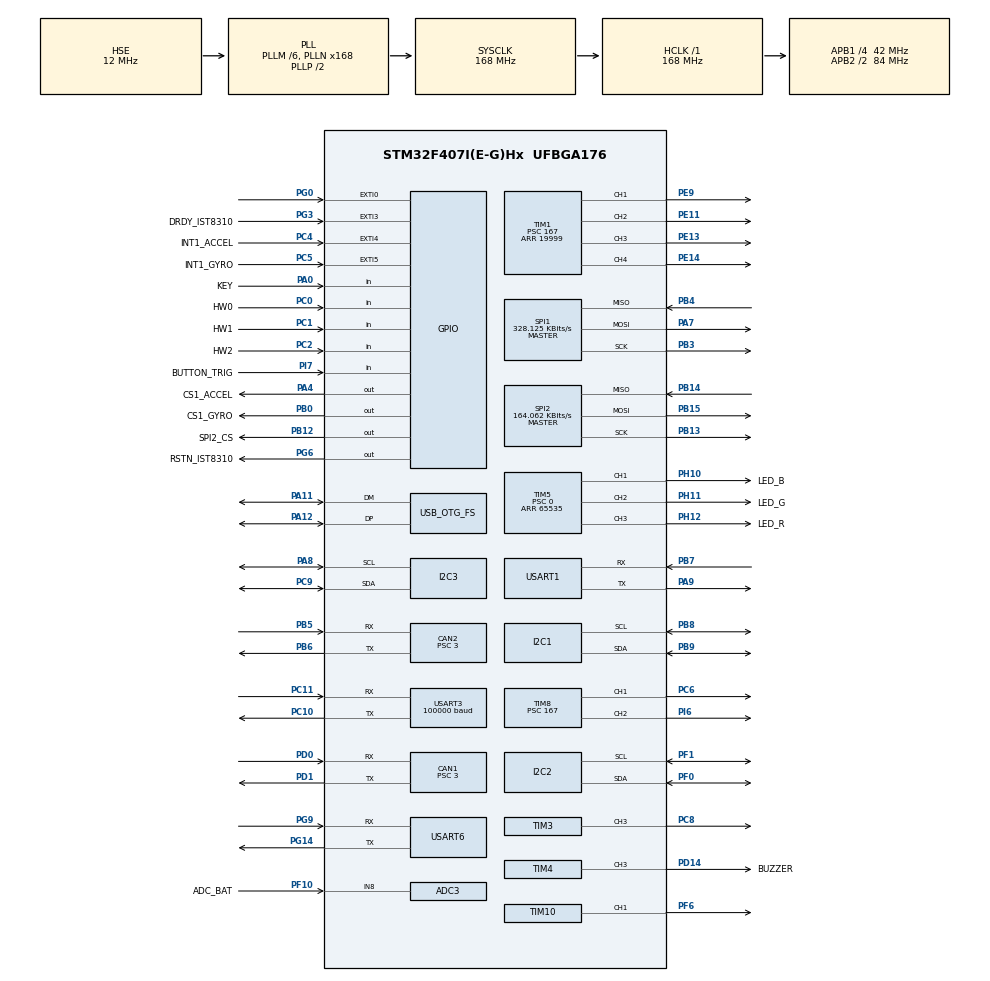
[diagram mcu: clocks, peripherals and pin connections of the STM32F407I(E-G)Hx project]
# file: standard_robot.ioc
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ADC1.Channel-0\#ChannelRegularConversion=ADC_CHANNEL_TEMPSENSOR
ADC1.ClockPrescaler=ADC_CLOCK_SYNC_PCLK_DIV6
ADC1.NbrOfConversionFlag=1
ADC1.Rank-0\#ChannelRegularConversion=1
ADC1.SamplingTime-0\#ChannelRegularConversion=ADC_SAMPLETIME_3CYCLES
ADC1.master=1
ADC3.Channel-0\#ChannelRegularConversion=ADC_CHANNEL_8
ADC3.ClockPrescaler=ADC_CLOCK_SYNC_PCLK_DIV6
ADC3.NbrOfConversionFlag=1
ADC3.Rank-0\#ChannelRegularConversion=1
ADC3.SamplingTime-0\#ChannelRegularConversion=ADC_SAMPLETIME_3CYCLES
CAN1.BS1=CAN_BS1_10TQ
CAN1.BS2=CAN_BS2_3TQ
CAN1.CalculateBaudRate=1000000
CAN1.CalculateTimeQuantum=71.42857142857143
CAN1.Prescaler=3
CAN2.BS1=CAN_BS1_10TQ
CAN2.BS2=CAN_BS2_3TQ
CAN2.CalculateBaudRate=1000000
CAN2.CalculateTimeQuantum=71.42857142857143
CAN2.Prescaler=3
Dma.I2C2_TX.2.Direction=DMA_MEMORY_TO_PERIPH
Dma.I2C2_TX.2.FIFOMode=DMA_FIFOMODE_DISABLE
Dma.I2C2_TX.2.Instance=DMA1_Stream7
Dma.I2C2_TX.2.MemDataAlignment=DMA_MDATAALIGN_BYTE
Dma.I2C2_TX.2.MemInc=DMA_MINC_ENABLE
Dma.I2C2_TX.2.Mode=DMA_NORMAL
Dma.I2C2_TX.2.PeriphDataAlignment=DMA_PDATAALIGN_BYTE
Dma.I2C2_TX.2.PeriphInc=DMA_PINC_DISABLE
Dma.I2C2_TX.2.Priority=DMA_PRIORITY_HIGH
Dma.Request0=SPI1_RX
Dma.Request1=SPI1_TX
Dma.Request2=I2C2_TX
Dma.Request3=USART3_RX
Dma.Request4=USART6_RX
Dma.Request5=USART6_TX
Dma.Request6=USART1_TX
Dma.SPI1_RX.0.Direction=DMA_PERIPH_TO_MEMORY
Dma.SPI1_RX.0.FIFOMode=DMA_FIFOMODE_DISABLE
Dma.SPI1_RX.0.Instance=DMA2_Stream2
Dma.SPI1_RX.0.MemDataAlignment=DMA_MDATAALIGN_BYTE
Dma.SPI1_RX.0.MemInc=DMA_MINC_ENABLE
Dma.SPI1_RX.0.Mode=DMA_NORMAL
Dma.SPI1_RX.0.PeriphDataAlignment=DMA_PDATAALIGN_BYTE
Dma.SPI1_RX.0.PeriphInc=DMA_PINC_DISABLE
Dma.SPI1_RX.0.Priority=DMA_PRIORITY_VERY_HIGH
Dma.SPI1_TX.1.Direction=DMA_MEMORY_TO_PERIPH
Dma.SPI1_TX.1.FIFOMode=DMA_FIFOMODE_DISABLE
Dma.SPI1_TX.1.Instance=DMA2_Stream3
Dma.SPI1_TX.1.MemDataAlignment=DMA_MDATAALIGN_BYTE
Dma.SPI1_TX.1.MemInc=DMA_MINC_ENABLE
Dma.SPI1_TX.1.Mode=DMA_NORMAL
Dma.SPI1_TX.1.PeriphDataAlignment=DMA_PDATAALIGN_BYTE
Dma.SPI1_TX.1.PeriphInc=DMA_PINC_DISABLE
Dma.SPI1_TX.1.Priority=DMA_PRIORITY_HIGH
Dma.USART1_TX.6.Direction=DMA_MEMORY_TO_PERIPH
Dma.USART1_TX.6.FIFOMode=DMA_FIFOMODE_DISABLE
Dma.USART1_TX.6.Instance=DMA2_Stream7
Dma.USART1_TX.6.MemDataAlignment=DMA_MDATAALIGN_BYTE
Dma.USART1_TX.6.MemInc=DMA_MINC_ENABLE
Dma.USART1_TX.6.Mode=DMA_NORMAL
Dma.USART1_TX.6.PeriphDataAlignment=DMA_PDATAALIGN_BYTE
Dma.USART1_TX.6.PeriphInc=DMA_PINC_DISABLE
Dma.USART1_TX.6.Priority=DMA_PRIORITY_MEDIUM
Dma.USART3_RX.3.Direction=DMA_PERIPH_TO_MEMORY
Dma.USART3_RX.3.FIFOMode=DMA_FIFOMODE_DISABLE
Dma.USART3_RX.3.Instance=DMA1_Stream1
Dma.USART3_RX.3.MemDataAlignment=DMA_MDATAALIGN_BYTE
Dma.USART3_RX.3.MemInc=DMA_MINC_ENABLE
Dma.USART3_RX.3.Mode=DMA_NORMAL
Dma.USART3_RX.3.PeriphDataAlignment=DMA_PDATAALIGN_BYTE
Dma.USART3_RX.3.PeriphInc=DMA_PINC_DISABLE
Dma.USART3_RX.3.Priority=DMA_PRIORITY_HIGH
Dma.USART6_RX.4.Direction=DMA_PERIPH_TO_MEMORY
Dma.USART6_RX.4.FIFOMode=DMA_FIFOMODE_DISABLE
Dma.USART6_RX.4.Instance=DMA2_Stream1
Dma.USART6_RX.4.MemDataAlignment=DMA_MDATAALIGN_BYTE
Dma.USART6_RX.4.MemInc=DMA_MINC_ENABLE
Dma.USART6_RX.4.Mode=DMA_NORMAL
Dma.USART6_RX.4.PeriphDataAlignment=DMA_PDATAALIGN_BYTE
Dma.USART6_RX.4.PeriphInc=DMA_PINC_DISABLE
Dma.USART6_RX.4.Priority=DMA_PRIORITY_HIGH
Dma.USART6_TX.5.Direction=DMA_MEMORY_TO_PERIPH
Dma.USART6_TX.5.FIFOMode=DMA_FIFOMODE_DISABLE
Dma.USART6_TX.5.Instance=DMA2_Stream6
Dma.USART6_TX.5.MemDataAlignment=DMA_MDATAALIGN_BYTE
Dma.USART6_TX.5.MemInc=DMA_MINC_ENABLE
Dma.USART6_TX.5.Mode=DMA_NORMAL
Dma.USART6_TX.5.PeriphDataAlignment=DMA_PDATAALIGN_BYTE
Dma.USART6_TX.5.PeriphInc=DMA_PINC_DISABLE
Dma.USART6_TX.5.Priority=DMA_PRIORITY_MEDIUM
FREERTOS.INCLUDE_eTaskGetState=1
FREERTOS.INCLUDE_pcTaskGetTaskName=1
FREERTOS.INCLUDE_uxTaskGetStackHighWaterMark=1
FREERTOS.INCLUDE_vTaskCleanUpResources=1
FREERTOS.INCLUDE_vTaskDelayUntil=1
FREERTOS.INCLUDE_xEventGroupSetBitFromISR=1
FREERTOS.INCLUDE_xQueueGetMutexHolder=1
FREERTOS.INCLUDE_xSemaphoreGetMutexHolder=1
FREERTOS.INCLUDE_xTaskAbortDelay=1
FREERTOS.INCLUDE_xTaskGetCurrentTaskHandle=1
FREERTOS.INCLUDE_xTaskGetHandle=1
FREERTOS.INCLUDE_xTimerPendFunctionCall=1
FREERTOS.Tasks01=test,24,128,test_task,As weak,NULL,Dynamic,NULL,NULL
FREERTOS.configTOTAL_HEAP_SIZE=24576
I2C1.I2C_Mode=I2C_Fast
I2C2.I2C_Mode=I2C_Fast
I2C3.I2C_Mode=I2C_Fast
Mcu.Family=STM32F4
Mcu.Name=STM32F407I(E-G)Hx
Mcu.Package=UFBGA176
NVIC.CAN1_RX0_IRQn=true\:6\:0\:true\:false\:true\:true\:true\:true\:true
NVIC.CAN2_RX0_IRQn=true\:6\:0\:true\:false\:true\:true\:true\:true\:true
NVIC.DMA1_Stream1_IRQn=true\:5\:0\:true\:false\:false\:true\:false\:false\:true
NVIC.DMA1_Stream7_IRQn=true\:5\:0\:true\:false\:false\:true\:false\:true\:true
NVIC.DMA2_Stream1_IRQn=true\:5\:0\:true\:false\:true\:true\:false\:true\:true
NVIC.DMA2_Stream2_IRQn=true\:5\:0\:true\:false\:false\:true\:false\:true\:true
NVIC.DMA2_Stream3_IRQn=true\:5\:0\:true\:false\:false\:true\:false\:true\:true
NVIC.DMA2_Stream6_IRQn=true\:5\:0\:true\:false\:true\:true\:false\:true\:true
NVIC.DMA2_Stream7_IRQn=true\:5\:0\:true\:false\:true\:true\:false\:true\:true
NVIC.EXTI0_IRQn=true\:6\:0\:true\:false\:true\:true\:true\:true\:true
NVIC.EXTI3_IRQn=true\:5\:0\:true\:false\:true\:true\:true\:true\:true
NVIC.EXTI4_IRQn=true\:5\:0\:true\:false\:true\:true\:true\:true\:true
NVIC.EXTI9_5_IRQn=true\:5\:0\:true\:false\:true\:true\:true\:true\:true
NVIC.OTG_FS_IRQn=true\:5\:0\:false\:false\:true\:true\:false\:true\:true
NVIC.PriorityGroup=NVIC_PRIORITYGROUP_4
NVIC.USART3_IRQn=true\:4\:0\:true\:false\:false\:false\:true\:true\:true
NVIC.USART6_IRQn=true\:5\:0\:true\:false\:false\:true\:true\:true\:true
PA0-WKUP.GPIO_Label=KEY
PA0-WKUP.GPIO_PuPd=GPIO_PULLUP
PA0-WKUP.Signal=GPIO_Input
PA11.Mode=Device_Only
PA11.Signal=USB_OTG_FS_DM
PA12.Mode=Device_Only
PA12.Signal=USB_OTG_FS_DP
PA13.Mode=Serial_Wire
PA13.Signal=SYS_JTMS-SWDIO
PA14.Mode=Serial_Wire
PA14.Signal=SYS_JTCK-SWCLK
PA4.GPIO_Label=CS1_ACCEL
PA4.GPIO_PuPd=GPIO_PULLUP
PA4.GPIO_Speed=GPIO_SPEED_FREQ_HIGH
PA4.PinState=GPIO_PIN_SET
PA4.Signal=GPIO_Output
PA7.GPIO_PuPd=GPIO_PULLUP
PA7.Mode=Full_Duplex_Master
PA7.Signal=SPI1_MOSI
PA8.GPIO_Pu=GPIO_PULLUP
PA8.Mode=I2C
PA8.Signal=I2C3_SCL
PA9.Mode=Asynchronous
PA9.Signal=USART1_TX
PB0.GPIO_Label=CS1_GYRO
PB0.GPIO_PuPd=GPIO_PULLUP
PB0.GPIO_Speed=GPIO_SPEED_FREQ_HIGH
PB0.PinState=GPIO_PIN_SET
PB0.Signal=GPIO_Output
PB12.GPIO_Label=SPI2_CS
PB12.GPIO_PuPd=GPIO_PULLUP
PB12.GPIO_Speed=GPIO_SPEED_FREQ_MEDIUM
PB12.PinState=GPIO_PIN_SET
PB12.Signal=GPIO_Output
PB13.GPIO_PuPd=GPIO_PULLUP
PB13.Mode=Full_Duplex_Master
PB13.Signal=SPI2_SCK
PB14.GPIO_PuPd=GPIO_PULLUP
PB14.Mode=Full_Duplex_Master
PB14.Signal=SPI2_MISO
PB15.GPIO_PuPd=GPIO_PULLUP
PB15.Mode=Full_Duplex_Master
PB15.Signal=SPI2_MOSI
PB3.GPIO_PuPd=GPIO_PULLUP
PB3.Mode=Full_Duplex_Master
PB3.Signal=SPI1_SCK
PB4.GPIO_PuPd=GPIO_PULLUP
PB4.Mode=Full_Duplex_Master
PB4.Signal=SPI1_MISO
PB5.Mode=CAN_Activate
PB5.Signal=CAN2_RX
PB6.Mode=CAN_Activate
PB6.Signal=CAN2_TX
PB7.Mode=Asynchronous
PB7.Signal=USART1_RX
PB8.GPIO_Pu=GPIO_PULLUP
PB8.Mode=I2C
PB8.Signal=I2C1_SCL
PB9.GPIO_Pu=GPIO_PULLUP
PB9.Mode=I2C
PB9.Signal=I2C1_SDA
PC0.GPIO_Label=HW0
PC0.Signal=GPIO_Input
PC1.GPIO_Label=HW1
PC1.Signal=GPIO_Input
PC10.Mode=Asynchronous
PC10.Signal=USART3_TX
PC11.Mode=Asynchronous
PC11.Signal=USART3_RX
PC2.GPIO_Label=HW2
PC2.Signal=GPIO_Input
PC4.GPIO_Label=INT1_ACCEL
PC4.GPIO_ModeDefaultEXTI=GPIO_MODE_IT_FALLING
PC4.GPIO_PuPd=GPIO_PULLUP
PC4.Signal=GPXTI4
PC5.GPIO_Label=INT1_GYRO
PC5.GPIO_ModeDefaultEXTI=GPIO_MODE_IT_FALLING
PC5.GPIO_PuPd=GPIO_PULLUP
PC5.Signal=GPXTI5
PC6.GPIO_PuPd=GPIO_PULLUP
PC6.GPIO_Speed=GPIO_SPEED_FREQ_HIGH
PC6.Signal=S_TIM8_CH1
PC8.GPIO_PuPd=GPIO_PULLUP
PC8.GPIO_Speed=GPIO_SPEED_FREQ_HIGH
PC8.Signal=S_TIM3_CH3
PC9.GPIO_Pu=GPIO_PULLUP
PC9.Mode=I2C
PC9.Signal=I2C3_SDA
PD0.Mode=CAN_Activate
PD0.Signal=CAN1_RX
PD1.Mode=CAN_Activate
PD1.Signal=CAN1_TX
PD14.GPIO_Label=BUZZER
PD14.GPIO_PuPd=GPIO_PULLUP
PD14.GPIO_Speed=GPIO_SPEED_FREQ_VERY_HIGH
PD14.Signal=S_TIM4_CH3
PE11.GPIO_PuPd=GPIO_PULLUP
PE11.GPIO_Speed=GPIO_SPEED_FREQ_HIGH
PE11.Signal=S_TIM1_CH2
PE13.GPIO_PuPd=GPIO_PULLUP
PE13.GPIO_Speed=GPIO_SPEED_FREQ_HIGH
PE13.Signal=S_TIM1_CH3
PE14.GPIO_PuPd=GPIO_PULLUP
PE14.GPIO_Speed=GPIO_SPEED_FREQ_HIGH
PE14.Signal=S_TIM1_CH4
PE9.GPIO_PuPd=GPIO_PULLUP
PE9.GPIO_Speed=GPIO_SPEED_FREQ_HIGH
PE9.Signal=S_TIM1_CH1
PF0.GPIO_Pu=GPIO_PULLUP
PF0.Mode=I2C
PF0.Signal=I2C2_SDA
PF1.GPIO_Pu=GPIO_PULLUP
PF1.Mode=I2C
PF1.Signal=I2C2_SCL
PF10.GPIO_Label=ADC_BAT
PF10.Mode=IN8
PF10.Signal=ADC3_IN8
PF6.GPIO_PuPd=GPIO_PULLUP
PF6.GPIO_Speed=GPIO_SPEED_FREQ_HIGH
PF6.Signal=S_TIM10_CH1
PG0.GPIO_ModeDefaultEXTI=GPIO_MODE_IT_FALLING
PG0.GPIO_PuPd=GPIO_PULLUP
PG0.Signal=GPXTI0
PG14.Mode=Asynchronous
PG14.Signal=USART6_TX
PG3.GPIO_Label=DRDY_IST8310
PG3.GPIO_ModeDefaultEXTI=GPIO_MODE_IT_FALLING
PG3.GPIO_PuPd=GPIO_PULLUP
PG3.Signal=GPXTI3
PG6.GPIO_Label=RSTN_IST8310
PG6.GPIO_PuPd=GPIO_PULLUP
PG6.GPIO_Speed=GPIO_SPEED_FREQ_MEDIUM
PG6.PinState=GPIO_PIN_SET
PG6.Signal=GPIO_Output
PG9.Mode=Asynchronous
PG9.Signal=USART6_RX
PH0-OSC_IN.Mode=HSE-External-Oscillator
PH0-OSC_IN.Signal=RCC_OSC_IN
PH1-OSC_OUT.Mode=HSE-External-Oscillator
PH1-OSC_OUT.Signal=RCC_OSC_OUT
PH10.GPIO_Label=LED_B
PH10.GPIO_PuPd=GPIO_PULLUP
PH10.GPIO_Speed=GPIO_SPEED_FREQ_HIGH
PH10.Signal=S_TIM5_CH1
PH11.GPIO_Label=LED_G
PH11.GPIO_PuPd=GPIO_PULLUP
PH11.GPIO_Speed=GPIO_SPEED_FREQ_HIGH
PH11.Signal=S_TIM5_CH2
PH12.GPIO_Label=LED_R
PH12.GPIO_PuPd=GPIO_PULLUP
PH12.GPIO_Speed=GPIO_SPEED_FREQ_HIGH
PH12.Signal=S_TIM5_CH3
PI6.GPIO_PuPd=GPIO_PULLUP
PI6.GPIO_Speed=GPIO_SPEED_FREQ_HIGH
PI6.Signal=S_TIM8_CH2
PI7.GPIO_Label=BUTTON_TRIG
PI7.GPIO_PuPd=GPIO_PULLUP
PI7.Signal=GPIO_Input
ProjectManager.HeapSize=0x2000
ProjectManager.StackSize=0x2000
ProjectManager.TargetToolchain=MDK-ARM V5
RCC.48MHZClocksFreq_Value=48000000
RCC.AHBFreq_Value=168000000
RCC.APB1CLKDivider=RCC_HCLK_DIV4
RCC.APB1Freq_Value=42000000
RCC.APB1TimFreq_Value=84000000
RCC.APB2CLKDivider=RCC_HCLK_DIV2
RCC.APB2Freq_Value=84000000
RCC.APB2TimFreq_Value=168000000
RCC.CortexFreq_Value=168000000
RCC.HCLKFreq_Value=168000000
RCC.HSE_VALUE=12000000
RCC.HSI_VALUE=16000000
RCC.LSE_VALUE=32768
RCC.PLLM=6
RCC.PLLN=168
RCC.PLLQ=7
RCC.RCC_RTC_Clock_SourceVirtual=RCC_RTCCLKSOURCE_HSE_DIV30
RCC.RCC_RTC_Clock_Source_FROM_HSE=RCC_RTCCLKSOURCE_HSE_DIV30
RCC.SYSCLKFreq_VALUE=168000000
RCC.SYSCLKSource=RCC_SYSCLKSOURCE_PLLCLK
RCC.VCOOutputFreq_Value=336000000
RTC.AsynchPrediv=124
RTC.SynchPrediv=3199
SH.S_TIM10_CH1.0=TIM10_CH1,PWM Generation1 CH1
SH.S_TIM1_CH1.0=TIM1_CH1,PWM Generation1 CH1
SH.S_TIM1_CH2.0=TIM1_CH2,PWM Generation2 CH2
SH.S_TIM1_CH3.0=TIM1_CH3,PWM Generation3 CH3
SH.S_TIM1_CH4.0=TIM1_CH4,PWM Generation4 CH4
SH.S_TIM3_CH3.0=TIM3_CH3,PWM Generation3 CH3
SH.S_TIM4_CH3.0=TIM4_CH3,PWM Generation3 CH3
SH.S_TIM5_CH1.0=TIM5_CH1,PWM Generation1 CH1
SH.S_TIM5_CH2.0=TIM5_CH2,PWM Generation2 CH2
SH.S_TIM5_CH3.0=TIM5_CH3,PWM Generation3 CH3
SH.S_TIM8_CH1.0=TIM8_CH1,PWM Generation1 CH1
SH.S_TIM8_CH2.0=TIM8_CH2,PWM Generation2 CH2
SPI1.BaudRatePrescaler=SPI_BAUDRATEPRESCALER_256
SPI1.CLKPhase=SPI_PHASE_2EDGE
SPI1.CLKPolarity=SPI_POLARITY_HIGH
SPI1.CalculateBaudRate=328.125 KBits/s
SPI1.Direction=SPI_DIRECTION_2LINES
SPI1.Mode=SPI_MODE_MASTER
SPI1.VirtualType=VM_MASTER
SPI2.BaudRatePrescaler=SPI_BAUDRATEPRESCALER_256
SPI2.CLKPhase=SPI_PHASE_2EDGE
SPI2.CLKPolarity=SPI_POLARITY_HIGH
SPI2.CalculateBaudRate=164.062 KBits/s
SPI2.Direction=SPI_DIRECTION_2LINES
SPI2.Mode=SPI_MODE_MASTER
SPI2.VirtualType=VM_MASTER
TIM1.Channel-PWM\ Generation1\ CH1=TIM_CHANNEL_1
TIM1.Channel-PWM\ Generation2\ CH2=TIM_CHANNEL_2
TIM1.Channel-PWM\ Generation3\ CH3=TIM_CHANNEL_3
TIM1.Channel-PWM\ Generation4\ CH4=TIM_CHANNEL_4
TIM1.OCPolarity_1=TIM_OCPOLARITY_HIGH
TIM1.Period=19999
TIM1.Prescaler=167
TIM1.Pulse-PWM\ Generation1\ CH1=2000
TIM1.Pulse-PWM\ Generation2\ CH2=1000
TIM1.Pulse-PWM\ Generation3\ CH3=1000
TIM1.Pulse-PWM\ Generation4\ CH4=1000
TIM10.Channel=TIM_CHANNEL_1
TIM10.Period=4999
TIM3.Channel-PWM\ Generation3\ CH3=TIM_CHANNEL_3
TIM3.Period=8399
TIM4.Channel-PWM\ Generation3\ CH3=TIM_CHANNEL_3
TIM4.Period=65535
TIM4.Prescaler=167
TIM5.Channel-PWM\ Generation1\ CH1=TIM_CHANNEL_1
TIM5.Channel-PWM\ Generation2\ CH2=TIM_CHANNEL_2
TIM5.Channel-PWM\ Generation3\ CH3=TIM_CHANNEL_3
TIM5.Period=65535
TIM5.Prescaler=0
TIM8.Channel-PWM\ Generation1\ CH1=TIM_CHANNEL_1
TIM8.Channel-PWM\ Generation2\ CH2=TIM_CHANNEL_2
TIM8.Period=19999
TIM8.Prescaler=167
TIM8.Pulse-PWM\ Generation1\ CH1=1000
TIM8.Pulse-PWM\ Generation2\ CH2=1000
USART1.VirtualMode=VM_ASYNC
USART3.BaudRate=100000
USART3.Parity=PARITY_EVEN
USART3.VirtualMode=VM_ASYNC
USART6.VirtualMode=VM_ASYNC
USB_DEVICE.CLASS_NAME_FS=CDC
USB_DEVICE.VirtualMode-CDC_FS=Cdc
USB_DEVICE.VirtualModeFS=Cdc_FS
USB_OTG_FS.VirtualMode=Device_Only
VP_ADC1_TempSens_Input.Mode=IN-TempSens
VP_ADC1_Vref_Input.Mode=IN-Vrefint
VP_CRC_VS_CRC.Mode=CRC_Activate
VP_FREERTOS_VS_CMSIS_V1.Mode=CMSIS_V1
VP_RNG_VS_RNG.Mode=RNG_Activate
VP_RTC_VS_RTC_Activate.Mode=RTC_Enabled
VP_TIM10_VS_ClockSourceINT.Mode=Enable_Timer
VP_TIM1_VS_ClockSourceINT.Mode=Internal
VP_TIM3_VS_ClockSourceINT.Mode=Internal
VP_TIM4_VS_ClockSourceINT.Mode=Internal
VP_TIM5_VS_ClockSourceINT.Mode=Internal
VP_TIM8_VS_ClockSourceINT.Mode=Internal
VP_USB_DEVICE_VS_USB_DEVICE_CDC_FS.Mode=CDC_FS
board=custom

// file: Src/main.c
/* USER CODE BEGIN Header */
/**
  ******************************************************************************
  * @file           : main.c
  * @brief          : Main program body
  ******************************************************************************
  * @attention
  *
  * <h2><center>&copy; Copyright (c) 2019 STMicroelectronics.
  * All rights reserved.</center></h2>
  *
  * This software component is licensed by ST under Ultimate Liberty license
  * SLA0044, the "License"; You may not use this file except in compliance with
  * the License. You may obtain a copy of the License at:
  *                             www.st.com/SLA0044
  *
  ******************************************************************************
  */
/* USER CODE END Header */

#include "main.h"
#include "cmsis_os.h"
#include "adc.h"
#include "can.h"
#include "crc.h"
#include "dma.h"
#include "i2c.h"
#include "rng.h"
#include "rtc.h"
#include "spi.h"
#include "tim.h"
#include "usart.h"
#include "usb_device.h"
#include "gpio.h"

/* USER CODE BEGIN Includes */
#include "bsp_can.h"
#include "bsp_delay.h"
#include "bsp_usart.h"
#include "vision_rx_task.h"

#include "calibrate_task.h"
#include "chassis_task.h"
#include "detect_task.h"
#include "gimbal_task.h"
#include "INS_task.h"
#include "led_flow_task.h"
#include "oled_task.h"
#include "referee_usart_task.h"
#include "usb_task.h"
#include "voltage_task.h"

/* USER CODE END Includes */

void SystemClock_Config(void);
void MX_FREERTOS_Init(void);

int main(void)
{

  /* MCU Configuration--------------------------------------------------------*/

  /* Reset of all peripherals, Initializes the Flash interface and the Systick. */
  HAL_Init();

  /* Configure the system clock */
  SystemClock_Config();

  /* Initialize all configured peripherals */
  MX_GPIO_Init();
  MX_DMA_Init();
  MX_ADC1_Init();
  MX_ADC3_Init();
  MX_CAN1_Init();
  MX_CAN2_Init();
  MX_I2C1_Init();
  MX_SPI1_Init();
  MX_TIM4_Init();
  MX_TIM5_Init();
  MX_USART3_UART_Init();
  MX_TIM8_Init();
  MX_CRC_Init();
  MX_RNG_Init();
  MX_I2C2_Init();
  MX_I2C3_Init();
  MX_RTC_Init();
  MX_SPI2_Init();
  MX_TIM1_Init();
  MX_TIM3_Init();
  MX_TIM10_Init();
  MX_USART1_UART_Init();
  MX_USART6_UART_Init();
  /* USER CODE BEGIN 2 */
    can_filter_init();
    delay_init();
    cali_param_init();
    //remote_control_init();

    usart1_tx_dma_init();
    /* aim_assistant_control_init() removed — logic moved into vision_rx_task */

  /* USER CODE END 2 */

  /* Call init function for freertos objects (in freertos.c) */
  MX_FREERTOS_Init();

  /* Start scheduler */
  osKernelStart();

  /* We should never get here as control is now taken by the scheduler */

  /* Infinite loop */
  while (1)
  {

  }
}

void SystemClock_Config(void)
{
  RCC_OscInitTypeDef RCC_OscInitStruct = {0};
  RCC_ClkInitTypeDef RCC_ClkInitStruct = {0};
  RCC_PeriphCLKInitTypeDef PeriphClkInitStruct = {0};

  /** Configure the main internal regulator output voltage
  */
  __HAL_RCC_PWR_CLK_ENABLE();
  __HAL_PWR_VOLTAGESCALING_CONFIG(PWR_REGULATOR_VOLTAGE_SCALE1);
  /** Initializes the CPU, AHB and APB busses clocks
  */
  RCC_OscInitStruct.OscillatorType = RCC_OSCILLATORTYPE_HSE;
  RCC_OscInitStruct.HSEState = RCC_HSE_ON;
  RCC_OscInitStruct.PLL.PLLState = RCC_PLL_ON;
  RCC_OscInitStruct.PLL.PLLSource = RCC_PLLSOURCE_HSE;
  RCC_OscInitStruct.PLL.PLLM = 6;
  RCC_OscInitStruct.PLL.PLLN = 168;
  RCC_OscInitStruct.PLL.PLLP = RCC_PLLP_DIV2;
  RCC_OscInitStruct.PLL.PLLQ = 7;
  if (HAL_RCC_OscConfig(&RCC_OscInitStruct) != HAL_OK)
  {
    Error_Handler();
  }
  /** Initializes the CPU, AHB and APB busses clocks
  */
  RCC_ClkInitStruct.ClockType = RCC_CLOCKTYPE_HCLK|RCC_CLOCKTYPE_SYSCLK
                              |RCC_CLOCKTYPE_PCLK1|RCC_CLOCKTYPE_PCLK2;
  RCC_ClkInitStruct.SYSCLKSource = RCC_SYSCLKSOURCE_PLLCLK;
  RCC_ClkInitStruct.AHBCLKDivider = RCC_SYSCLK_DIV1;
  RCC_ClkInitStruct.APB1CLKDivider = RCC_HCLK_DIV4;
  RCC_ClkInitStruct.APB2CLKDivider = RCC_HCLK_DIV2;

  if (HAL_RCC_ClockConfig(&RCC_ClkInitStruct, FLASH_LATENCY_5) != HAL_OK)
  {
    Error_Handler();
  }
  PeriphClkInitStruct.PeriphClockSelection = RCC_PERIPHCLK_RTC;
  PeriphClkInitStruct.RTCClockSelection = RCC_RTCCLKSOURCE_HSE_DIV30;
  if (HAL_RCCEx_PeriphCLKConfig(&PeriphClkInitStruct) != HAL_OK)
  {
    Error_Handler();
  }
}

void Error_Handler(void)
{
}

/************************ (C) COPYRIGHT STMicroelectronics *****END OF FILE****/

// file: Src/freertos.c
/* USER CODE BEGIN Header */
/**
  ******************************************************************************
  * File Name          : freertos.c
  * Description        : Code for freertos applications
  ******************************************************************************
  * @attention
  *
  * <h2><center>&copy; Copyright (c) 2019 STMicroelectronics.
  * All rights reserved.</center></h2>
  *
  * This software component is licensed by ST under Ultimate Liberty license
  * SLA0044, the "License"; You may not use this file except in compliance with
  * the License. You may obtain a copy of the License at:
  *                             www.st.com/SLA0044
  *
  ******************************************************************************
  */
/* USER CODE END Header */

#include "FreeRTOS.h"
#include "task.h"
#include "main.h"
#include "cmsis_os.h"

/* USER CODE BEGIN Includes */

#include "calibrate_task.h"
#include "chassis_task.h"
#include "detect_task.h"
#include "gimbal_task.h"
#include "INS_task.h"
#include "led_flow_task.h"
#include "oled_task.h"
#include "referee_usart_task.h"
#include "usb_task.h"
#include "voltage_task.h"
#include "servo_task.h"
#include "vision_rx_task.h"
/* USER CODE END Includes */

/* USER CODE BEGIN PTD */

osThreadId calibrate_tast_handle;
osThreadId chassisTaskHandle;
osThreadId detect_handle;
osThreadId gimbalTaskHandle;
osThreadId imuTaskHandle;
osThreadId led_RGB_flow_handle;
osThreadId oled_handle;
osThreadId referee_usart_task_handle;
osThreadId usb_task_handle;
osThreadId battery_voltage_handle;
osThreadId servo_task_handle;
osThreadId vision_rx_task_handle;

/* USER CODE END PTD */

extern void MX_USB_DEVICE_Init(void);
void MX_FREERTOS_Init(void); /* (MISRA C 2004 rule 8.1) */

/* GetIdleTaskMemory prototype (linked to static allocation support) */
void vApplicationGetIdleTaskMemory( StaticTask_t **ppxIdleTaskTCBBuffer, StackType_t **ppxIdleTaskStackBuffer, uint32_t *pulIdleTaskStackSize );

/* GetTimerTaskMemory prototype (linked to static allocation support) */
void vApplicationGetTimerTaskMemory( StaticTask_t **ppxTimerTaskTCBBuffer, StackType_t **ppxTimerTaskStackBuffer, uint32_t *pulTimerTaskStackSize );

/* USER CODE BEGIN GET_IDLE_TASK_MEMORY */
static StaticTask_t xIdleTaskTCBBuffer;
static StackType_t xIdleStack[configMINIMAL_STACK_SIZE];

void vApplicationGetIdleTaskMemory( StaticTask_t **ppxIdleTaskTCBBuffer, StackType_t **ppxIdleTaskStackBuffer, uint32_t *pulIdleTaskStackSize )
{
  *ppxIdleTaskTCBBuffer = &xIdleTaskTCBBuffer;
  *ppxIdleTaskStackBuffer = &xIdleStack[0];
  *pulIdleTaskStackSize = configMINIMAL_STACK_SIZE;
  /* place for user code */
}
/* USER CODE END GET_IDLE_TASK_MEMORY */

/* USER CODE BEGIN GET_TIMER_TASK_MEMORY */
static StaticTask_t xTimerTaskTCBBuffer;
static StackType_t xTimerStack[configTIMER_TASK_STACK_DEPTH];

void vApplicationGetTimerTaskMemory( StaticTask_t **ppxTimerTaskTCBBuffer, StackType_t **ppxTimerTaskStackBuffer, uint32_t *pulTimerTaskStackSize )
{
  *ppxTimerTaskTCBBuffer = &xTimerTaskTCBBuffer;
  *ppxTimerTaskStackBuffer = &xTimerStack[0];
  *pulTimerTaskStackSize = configTIMER_TASK_STACK_DEPTH;
  /* place for user code */
}
/* USER CODE END GET_TIMER_TASK_MEMORY */

void MX_FREERTOS_Init(void) {

  /* Create the thread(s) */

  /* USER CODE BEGIN RTOS_THREADS */
  /* add threads, ... */
    osThreadDef(cali, calibrate_task, osPriorityNormal, 0, 512);
    calibrate_tast_handle = osThreadCreate(osThread(cali), NULL);

   osThreadDef(ChassisTask, chassis_task, osPriorityAboveNormal, 0, 512);
   chassisTaskHandle = osThreadCreate(osThread(ChassisTask), NULL);

  osThreadDef(DETECT, detect_task, osPriorityNormal, 0, 256);
  detect_handle = osThreadCreate(osThread(DETECT), NULL);

    osThreadDef(gimbalTask, gimbal_task, osPriorityHigh, 0, 512);
    gimbalTaskHandle = osThreadCreate(osThread(gimbalTask), NULL);

    osThreadDef(imuTask, INS_task, osPriorityRealtime, 0, 1024);
    imuTaskHandle = osThreadCreate(osThread(imuTask), NULL);

    osThreadDef(led, led_RGB_flow_task, osPriorityNormal, 0, 256);
    led_RGB_flow_handle = osThreadCreate(osThread(led), NULL);

    osThreadDef(OLED, oled_task, osPriorityLow, 0, 256);
    oled_handle = osThreadCreate(osThread(OLED), NULL);

    osThreadDef(REFEREE, referee_usart_task, osPriorityNormal, 0, 128);
    referee_usart_task_handle = osThreadCreate(osThread(REFEREE), NULL);

    // osThreadDef(USBTask, usb_task, osPriorityNormal, 0, 128);
    // usb_task_handle = osThreadCreate(osThread(USBTask), NULL);

    osThreadDef(BATTERY_VOLTAGE, battery_voltage_task, osPriorityNormal, 0, 128);
    battery_voltage_handle = osThreadCreate(osThread(BATTERY_VOLTAGE), NULL);

    osThreadDef(SERVO, servo_task, osPriorityNormal, 0, 128);
    servo_task_handle = osThreadCreate(osThread(SERVO), NULL);

    osThreadDef(VISION_RX, vision_rx_task, osPriorityAboveNormal, 0, 256);
    vision_rx_task_handle = osThreadCreate(osThread(VISION_RX), NULL);

  /* USER CODE END RTOS_THREADS */

}

/************************ (C) COPYRIGHT STMicroelectronics *****END OF FILE****/
